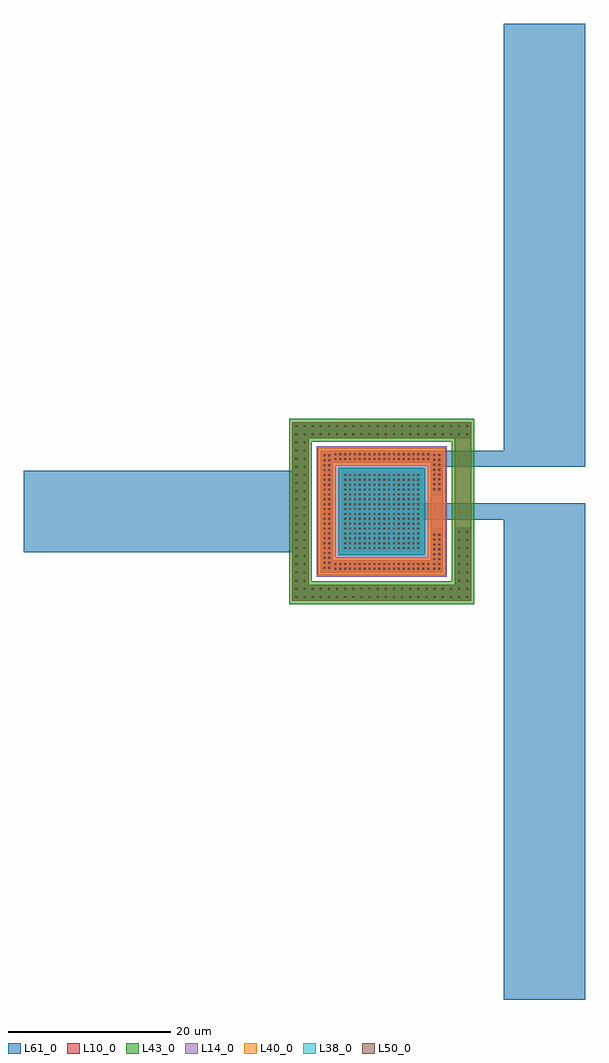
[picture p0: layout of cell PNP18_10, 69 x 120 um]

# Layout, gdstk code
import gdstk
lib = gdstk.Library(unit=1e-6, precision=1e-09)
def R(c, l, rs):  # rectangles x0, y0, x1, y1
    for r in rs: c.add(gdstk.rectangle(r[:2], r[2:], *l))
def P(c, l, *ps):  # polygons
    for p in ps: c.add(gdstk.Polygon(p, *l))
L10_0 = (10, 0)
L14_0 = (14, 0)
L38_0 = (38, 0)
L40_0 = (40, 0)
L43_0 = (43, 0)
L50_0 = (50, 0)
L61_0 = (61, 0)

cont022stc_tl001_m = lib.new_cell('CONT022STC_TL001_M')
R(cont022stc_tl001_m, L50_0, [(0,0,0.22,0.22)])

pnp18_10 = lib.new_cell('PNP18_10')
R(pnp18_10, L10_0, [(40,55,50,65)])
P(pnp18_10, L10_0, [(34,49),(34,71),(56,71),(56,49),(54,49),(54,69),(36,69),(36,51),(54,51),(54,49)],
  [(37.5,52.5),(37.5,67.5),(52.5,67.5),(52.5,52.5),(51,52.5),(51,66),(39,66),(39,54),(51,54),(51,52.5)])
R(pnp18_10, L14_0, [(37,52,53,68)])
R(pnp18_10, L38_0, [(39.7,54.7,50.3,65.3)])
P(pnp18_10, L40_0, [(37.15,52.15),(37.15,67.85),(52.85,67.85),(52.85,52.15),(50.65,52.15),(50.65,65.65),(39.35,65.65),(39.35,54.35),(50.65,54.35),(50.65,52.15)])
R(pnp18_10, L43_0, [(39.65,54.65,50.35,65.35)])
P(pnp18_10, L43_0, [(33.6,48.6),(33.6,71.4),(56.4,71.4),(56.4,48.6),(53.6,48.6),(53.6,68.6),(36.4,68.6),(36.4,51.4),(53.6,51.4),(53.6,48.6)])
R(pnp18_10, L61_0, [(60,0,70,61), (50.5,52.5,52.5,54), (51,54,52.5,58), (1,55,34,65), (40,55,50,65), (50,59,60,61), (51,62,52.5,66), (52.5,65.5,60,67.5), (60,65.5,70,120), (44.95,69,56,71)])
P(pnp18_10, L61_0, [(34,49),(34,71),(44.95,71),(44.95,69),(36,69),(36,51),(45.5,51),(45.5,49)],
  [(45.5,49),(45.5,51),(54,51),(54,58),(56,58),(56,49)],
  [(37.5,52.5),(37.5,67.5),(52.5,67.5),(52.5,66),(39,66),(39,54),(50.5,54),(50.5,52.5)])
r = gdstk.Reference(cont022stc_tl001_m, (51.34,67.06), x_reflection=True); r.repetition = gdstk.Repetition(2, 8, v1=(0.6,0), v2=(0,-0.6)); pnp18_10.add(r)
r = gdstk.Reference(cont022stc_tl001_m, (39.19,53.66), x_reflection=True); r.repetition = gdstk.Repetition(20, 2, v1=(0.6,0), v2=(0,-0.6)); pnp18_10.add(r)
r = gdstk.Reference(cont022stc_tl001_m, (40.39,64.61), x_reflection=True); r.repetition = gdstk.Repetition(16, 16, v1=(0.6,0), v2=(0,-0.6)); pnp18_10.add(r)
r = gdstk.Reference(cont022stc_tl001_m, (34.39,50.61), x_reflection=True); r.repetition = gdstk.Repetition(22, 2, v1=(1,0), v2=(0,-1)); pnp18_10.add(r)
r = gdstk.Reference(cont022stc_tl001_m, (34.39,68.61), x_reflection=True); r.repetition = gdstk.Repetition(2, 18, v1=(1,0), v2=(0,-1)); pnp18_10.add(r)
r = gdstk.Reference(cont022stc_tl001_m, (51.34,57.26), x_reflection=True); r.repetition = gdstk.Repetition(2, 8, v1=(0.6,0), v2=(0,-0.6)); pnp18_10.add(r)
r = gdstk.Reference(cont022stc_tl001_m, (54.39,57.61), x_reflection=True); r.repetition = gdstk.Repetition(2, 7, v1=(1,0), v2=(0,-1)); pnp18_10.add(r)
r = gdstk.Reference(cont022stc_tl001_m, (39.19,67.16), x_reflection=True); r.repetition = gdstk.Repetition(20, 2, v1=(0.6,0), v2=(0,-0.6)); pnp18_10.add(r)
r = gdstk.Reference(cont022stc_tl001_m, (37.84,67.01), x_reflection=True); r.repetition = gdstk.Repetition(2, 24, v1=(0.6,0), v2=(0,-0.6)); pnp18_10.add(r)
r = gdstk.Reference(cont022stc_tl001_m, (34.39,70.61), x_reflection=True); r.repetition = gdstk.Repetition(22, 2, v1=(1,0), v2=(0,-1)); pnp18_10.add(r)

lib.write_gds('PNP18_10.gds')
